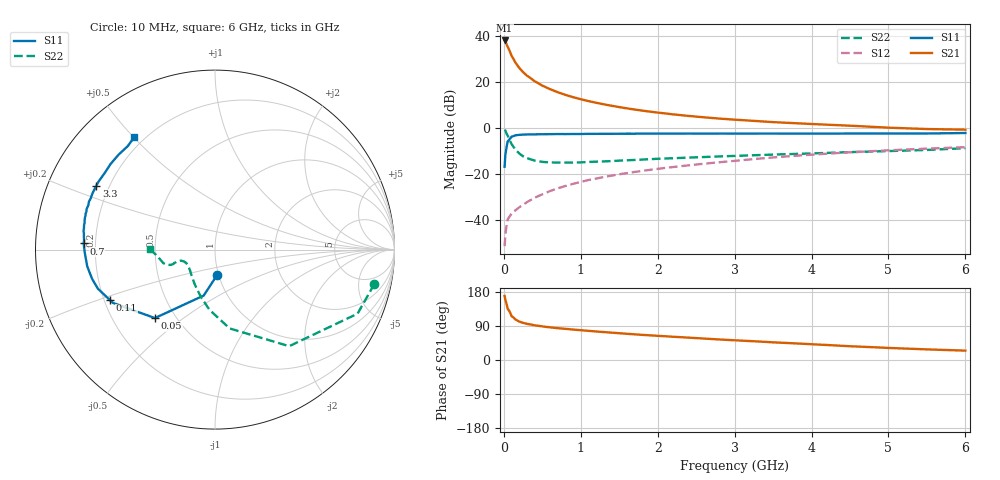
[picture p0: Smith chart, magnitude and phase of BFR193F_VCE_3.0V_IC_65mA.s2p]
! Infineon Technologies  Discrete & RF Semiconductors
! BFR193F
! VCE =  3.0 V,  IC =  65 mA
! Common Emitter S-Parameters:  Jan 2017
# GHz  S  MA  R  50
!  f  S11  S21  S12  S22
! GHz  MAG  ANG  MAG  ANG  MAG  ANG  MAG  ANG
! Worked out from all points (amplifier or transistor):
!   77 points, 10 MHz to 6 GHz, reference 50 ohm
!   highest |S21| = 37.9 dB at 10 MHz (marker M1)
!   |S21| within 3 dB of that: start of sweep to 54.1 MHz
!   unconditionally stable (mu >= 1): 685.9 MHz to 2.603 GHz
!   at 130 MHz: K = 0.59, MSG = 33.0 dB, |S12| = -36.4 dB
!   at 2.2 GHz: K = 1.02, MAG = 10.6 dB, |S12| = -17.0 dB
!   at 6 GHz: K = 0.87, MSG = 3.8 dB, |S12| = -8.4 dB
!   S11 on the Smith chart (normalised r, x): 10 MHz: 0.98, -0.29; 50 MHz: 0.39, -0.40; 110 MHz: 0.22, -0.22; 700 MHz: 0.15, +0.02; 3.3 GHz: 0.15, +0.25; 6 GHz: 0.16, +0.50
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0.01  0.1435 -85.7  78.75 169.2  0.0027 83.4  0.9081 -12.2
0.02  0.2637 -103.8  74.95 158.5  0.0048 72.9  0.8709 -24.2
0.05  0.5075 -131.3  57.66 135.2  0.0102 60.1  0.6785 -52.5
0.1  0.6412 -152.4  36.76 115.8  0.0137 51.2  0.4465 -79.5
0.11  0.6491 -154.3  34.58 114.5  0.0142 52.0  0.4224 -82.0
0.15  0.6877 -161.5  26.11 106.9  0.0162 54.5  0.3365 -95.3
0.2  0.7037 -166.6  20.03 101.5  0.0188 57.8  0.278 -105.9
0.25  0.7119 -170.3  16.18 98.0  0.0214 60.6  0.2409 -114.9
0.3  0.718 -172.6  13.59 95.4  0.0243 63.4  0.2204 -121.5
0.4  0.7219 -176.3  10.26 91.4  0.0302 66.0  0.1946 -132.0
0.5  0.7261 -178.8  8.249 88.7  0.036 69.9  0.1824 -139.2
0.6  0.7289 179.3  6.908 86.2  0.0424 71.1  0.1773 -144.7
0.7  0.7326 177.3  5.929 84.0  0.0486 72.3  0.176 -148.4
0.9  0.7342 174.3  4.632 80.3  0.0609 73.9  0.1765 -154.2
1.1  0.7397 171.8  3.807 76.9  0.0737 74.7  0.1818 -157.2
1.5  0.7446 167.4  2.819 70.7  0.0981 74.9  0.1942 -161.0
2.1  0.7487 161.6  2.051 62.6  0.1348 74.1  0.2159 -162.4
3.1  0.7506 153.3  1.468 51.0  0.1988 71.5  0.249 -160.9
3.3  0.7507 151.6  1.398 48.9  0.213 70.7  0.2558 -161.0
4.1  0.7487 144.3  1.19 40.6  0.2679 66.7  0.2817 -162.8
5.1  0.7534 134.3  0.994 31.1  0.3305 60.5  0.3163 -171.5
6  0.7715 125.7  0.913 24.7  0.3803 54.8  0.3613 179.8
